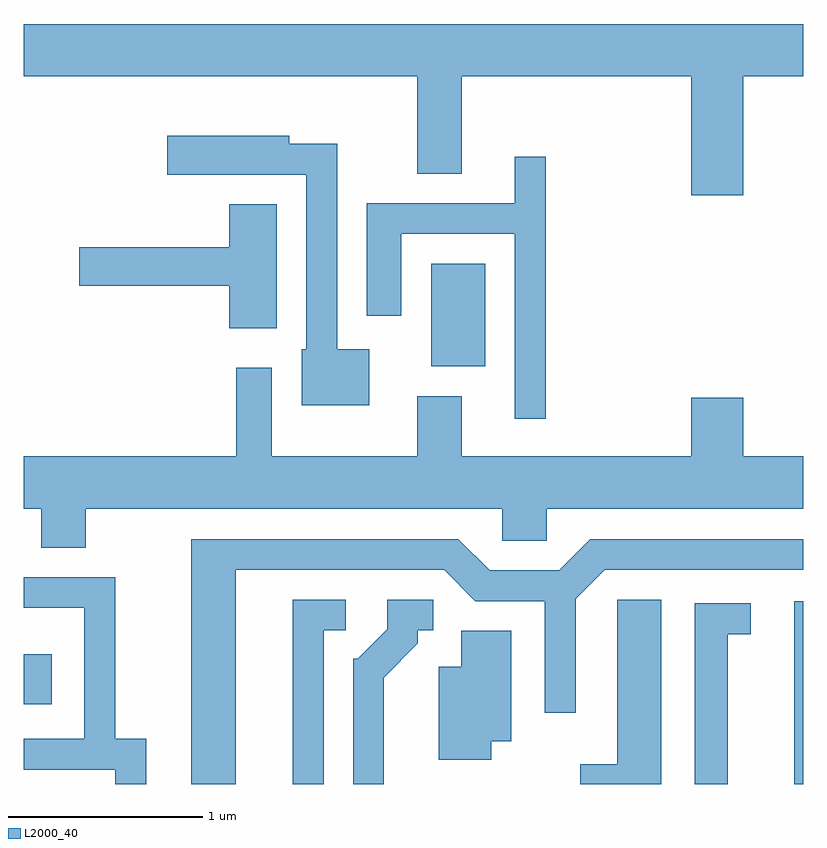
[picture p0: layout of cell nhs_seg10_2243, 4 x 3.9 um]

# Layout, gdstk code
import gdstk
lib = gdstk.Library(unit=1e-6, precision=1e-09)
def R(c, l, rs):  # rectangles x0, y0, x1, y1
    for r in rs: c.add(gdstk.rectangle(r[:2], r[2:], *l))
def P(c, l, *ps):  # polygons
    for p in ps: c.add(gdstk.Polygon(p, *l))
L2000_40 = (2000, 40)

nhs_seg10_2243 = lib.new_cell('nhs_seg10_2243')
R(nhs_seg10_2243, L2000_40, [(255.566,2092.522,255.611,2093.459), (251.611,2092.931,251.754,2093.189), (253.701,2094.666,253.979,2095.194)])
P(nhs_seg10_2243, L2000_40, [(255.304,2096.156),(255.611,2096.156),(255.611,2096.424),(251.611,2096.424),(251.611,2096.156),(253.631,2096.156),(253.631,2095.656),(253.859,2095.656),(253.859,2096.156),(255.036,2096.156),(255.036,2095.546),(255.304,2095.546)],
  [(253.384,2094.754),(253.219,2094.754),(253.219,2095.809),(252.974,2095.809),(252.974,2095.849),(252.346,2095.849),(252.346,2095.651),(253.061,2095.651),(253.061,2094.754),(253.036,2094.754),(253.036,2094.466),(253.384,2094.466)],
  [(254.289,2095.742),(254.131,2095.742),(254.131,2095.504),(253.371,2095.504),(253.371,2094.926),(253.549,2094.926),(253.549,2095.346),(254.131,2095.346),(254.131,2094.398),(254.289,2094.398)],
  [(252.909,2095.499),(252.666,2095.499),(252.666,2095.279),(251.896,2095.279),(251.896,2095.081),(252.666,2095.081),(252.666,2094.861),(252.909,2094.861)],
  [(251.929,2093.936),(254.066,2093.936),(254.066,2093.771),(254.294,2093.771),(254.294,2093.936),(255.611,2093.936),(255.611,2094.204),(255.304,2094.204),(255.304,2094.504),(255.036,2094.504),(255.036,2094.204),(253.859,2094.204),(253.859,2094.514),(253.631,2094.514),(253.631,2094.204),(252.884,2094.204),(252.884,2094.659),(252.701,2094.659),(252.701,2094.204),(251.611,2094.204),(251.611,2093.936),(251.701,2093.936),(251.701,2093.736),(251.929,2093.736)],
  [(252.699,2093.621),(253.769,2093.621),(253.929,2093.461),(254.286,2093.461),(254.286,2092.887),(254.444,2092.887),(254.444,2093.474),(254.592,2093.621),(255.611,2093.621),(255.611,2093.779),(254.519,2093.779),(254.359,2093.619),(254.002,2093.619),(253.842,2093.779),(252.471,2093.779),(252.471,2092.522),(252.699,2092.522)],
  [(252.239,2092.754),(252.079,2092.754),(252.079,2093.584),(251.611,2093.584),(251.611,2093.426),(251.921,2093.426),(251.921,2092.754),(251.611,2092.754),(251.611,2092.596),(252.081,2092.596),(252.081,2092.522),(252.239,2092.522)],
  [(254.884,2093.469),(254.656,2093.469),(254.656,2092.624),(254.468,2092.624),(254.468,2092.522),(254.884,2092.522)],
  [(253.459,2093.068),(253.634,2093.244),(253.634,2093.311),(253.713,2093.311),(253.713,2093.469),(253.476,2093.469),(253.476,2093.317),(253.324,2093.164),(253.301,2093.164),(253.301,2092.522),(253.459,2092.522)],
  [(253.149,2093.311),(253.263,2093.311),(253.263,2093.469),(252.991,2093.469),(252.991,2092.522),(253.149,2092.522)],
  [(255.224,2093.291),(255.343,2093.291),(255.343,2093.449),(255.056,2093.449),(255.056,2092.522),(255.224,2092.522)],
  [(254.009,2092.741),(254.114,2092.741),(254.114,2093.309),(253.856,2093.309),(253.856,2093.124),(253.741,2093.124),(253.741,2092.646),(254.009,2092.646)])

lib.write_gds('nhs_seg10_2243.gds')
